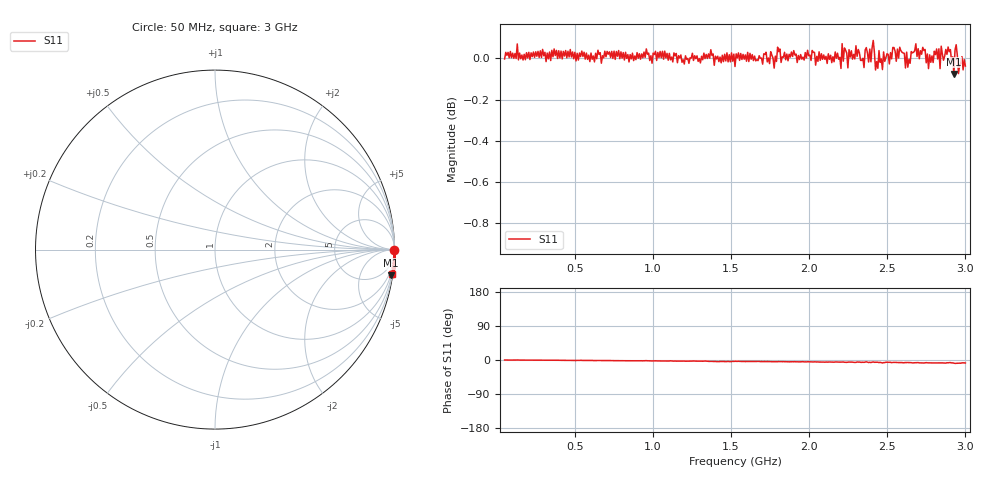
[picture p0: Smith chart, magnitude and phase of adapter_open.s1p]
! nanovna_capture.py 2026-11-02T23:06:32+0900
! NanoVNA-F_V2 fw 0.6.0 SN 4A3639384505514B
! cal: load open short cal'ed  over 50000000-3000000000 Hz, 201 points
! points 401, avg 4
! new antenna adapter on the extension cable, small end open (for de-embedding)
# HZ S RI R 50
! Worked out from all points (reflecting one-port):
!   401 points, 50 MHz to 3 GHz, reference 50 ohm
!   lowest |S11| = -0.1 dB at 2.926 GHz (marker M1), VSWR 231.63, Z = 40.5 - j682 ohm
!   phase of S11 starts at -0 deg and turns -8 deg over the sweep
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5e7  0.9997 -0.0011
4.1875e8  0.9996 -0.0146
7.875e8  0.9994 -0.032
9.57125e8  1.005 -0.0292
1.15625e9  0.9962 -0.0518
1.325875e9  1.002 -0.0515
1.458625e9  0.9996 -0.0731
1.525e9  0.9937 -0.0596
1.591375e9  0.9995 -0.0708
1.89375e9  0.9978 -0.0816
2.0855e9  0.995 -0.0952
2.240375e9  0.9971 -0.1079
2.2625e9  0.9961 -0.0964
2.284625e9  0.9966 -0.1065
2.358375e9  1 -0.0966
2.387875e9  0.9997 -0.1056
2.42475e9  0.9882 -0.1033
2.469e9  0.9844 -0.1363
2.505875e9  0.9963 -0.1085
2.594375e9  0.9966 -0.1172
2.63125e9  0.9884 -0.1154
2.71975e9  0.9927 -0.1384
2.756625e9  0.9942 -0.1289
2.859875e9  0.9893 -0.1387
2.89675e9  0.9965 -0.1207
2.92625e9  0.9809 -0.144
2.948375e9  0.9901 -0.1519
3e9  0.9864 -0.1357
